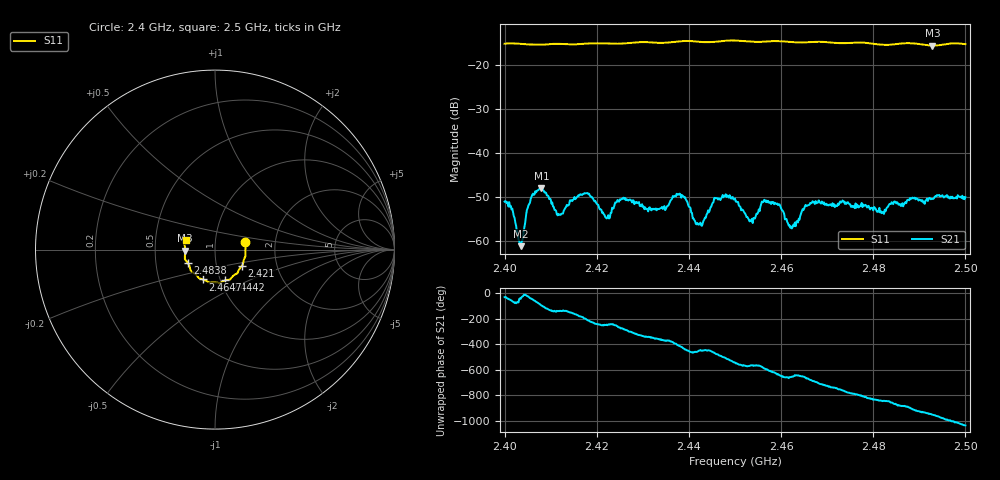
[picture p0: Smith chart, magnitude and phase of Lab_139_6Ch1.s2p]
# Hz S RI R 50
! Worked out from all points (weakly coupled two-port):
!   601 points, 2.4 GHz to 2.5 GHz, reference 50 ohm
!   highest |S21| = -47.98 dB at 2.408 GHz (marker M1); lowest = -61.2 dB at 2.4035 GHz (marker M2)
!   lowest |S11| = -15.6 dB at 2.4928 GHz (marker M3), VSWR 1.40, Z = 35.8 - j0.391 ohm
!   |S11| at or under -10 dB: start of sweep to end of sweep
!   S12 and S22 are empty: the file has one direction only
!   S11 on the Smith chart (normalised r, x): 2.4 GHz: 1.40, +0.12; 2.421 GHz: 1.33, -0.24; 2.4442 GHz: 1.05, -0.37; 2.4647 GHz: 0.83, -0.29; 2.4838 GHz: 0.73, -0.11; 2.5 GHz: 0.72, +0.08
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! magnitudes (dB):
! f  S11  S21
! 2.4 GHz  -15.2  -51.1
! 2.4035 GHz  -15.2  -61.2
! 2.4057 GHz  -15.4  -50.4
! 2.408 GHz  -15.4  -48.0
! 2.4118 GHz  -15.2  -54.1
! 2.4167 GHz  -15.3  -49.5
! 2.421 GHz  -15.1  -52.9
! 2.4257 GHz  -15.2  -50.2
! 2.4333 GHz  -15.0  -52.8
! 2.4377 GHz  -14.7  -49.4
! 2.4418 GHz  -14.7  -55.9
! 2.4442 GHz  -14.9  -53.0
! 2.45 GHz  -14.5  -50.4
! 2.4533 GHz  -14.7  -55.4
! 2.4563 GHz  -14.7  -50.7
! 2.462 GHz  -14.8  -57.0
! 2.4647 GHz  -14.9  -52.8
! 2.4667 GHz  -14.8  -51.3
! 2.4833 GHz  -15.5  -52.0
! 2.4838 GHz  -15.4  -51.6
! 2.4928 GHz  -15.6  -50.5
! 2.5 GHz  -15.3  -50.1
